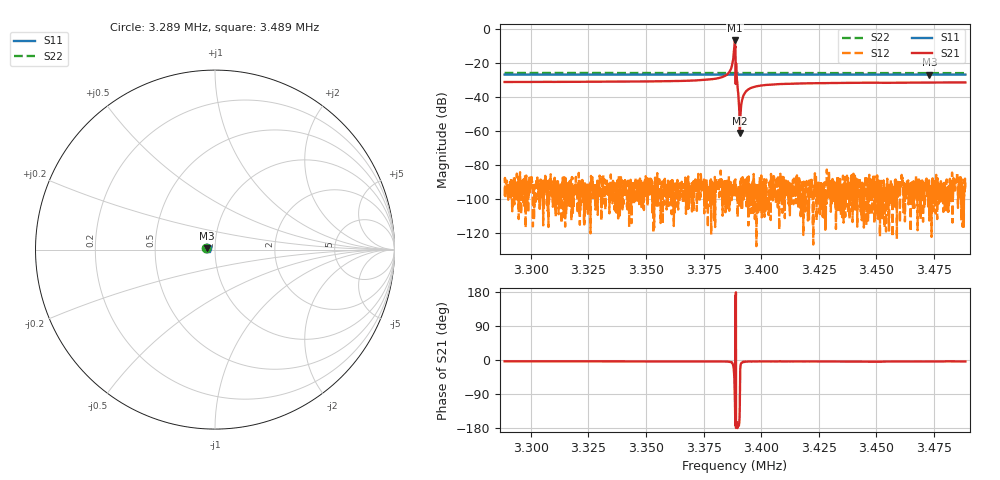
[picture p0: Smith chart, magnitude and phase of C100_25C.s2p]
# Hz S dB R 50.000
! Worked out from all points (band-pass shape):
!   6401 points, 3.289 MHz to 3.489 MHz, reference 50 ohm
!   highest |S21| = -6.59 dB at 3.389 MHz (marker M1); lowest = -61.2 dB at 3.391 MHz (marker M2)
!   |S21| within 3 dB of the highest: 3.388351 MHz to 3.38866 MHz (308.3 Hz wide, 0.0091 % of centre)
!   lowest |S11| = -26.7 dB at 3.473 MHz (marker M3), VSWR 1.10, Z = 45.6 + j0.574 ohm
!   |S11| at or under -10 dB: start of sweep to end of sweep
!   |S22| runs from -25.9 to -25.7 dB; largest |S21 - S12| = 0.47
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3288594  -26.73 170.6  -31.09 -3.4  -97.62 105.7  -25.75 168.8
3321938  -26.72 170.9  -30.98 -3.5  -92.29 22.7  -25.77 169.1
3355282  -26.73 171.1  -30.68 -3.6  -90.46 41.8  -25.79 169.4
3381938  -26.73 171.4  -28.61 -3.7  -88.97 63.4  -25.80 169.6
3385594  -26.72 171.4  -26.10 -4.3  -96.58 -6.0  -25.80 169.7
3386844  -26.72 171.4  -23.43 -5.5  -94.71 36.5  -25.80 169.7
3387469  -26.72 171.4  -20.19 -8.0  -95.42 -58.6  -25.80 169.7
3387844  -26.72 171.4  -17.36 -16.3  -94.06 -35.3  -25.80 169.7
3388594  -26.73 171.4  -6.59 -116.9  -97.90 -13.0  -25.78 169.7
3389219  -26.73 171.4  -26.30 -162.9  -95.83 -22.2  -25.80 169.7
3389906  -26.73 171.5  -36.97 -174.2  -95.90 43.3  -25.80 169.7
3390282  -26.73 171.4  -44.03 -172.7  -98.26 -83.5  -25.80 169.7
3390719  -26.73 171.4  -61.23 -83.4  -95.50 -39.7  -25.80 169.7
3391375  -26.73 171.5  -43.97 -7.7  -101.56 -23.5  -25.80 169.7
3392156  -26.72 171.5  -39.44 -4.6  -94.13 13.3  -25.80 169.7
3393094  -26.72 171.5  -37.17 -4.1  -89.34 50.8  -25.81 169.7
3396406  -26.72 171.5  -34.18 -3.7  -95.79 173.1  -25.81 169.8
3404156  -26.73 171.6  -32.61 -3.7  -91.65 79.8  -25.81 169.8
3421938  -26.73 171.7  -31.83 -3.7  -89.48 24.0  -25.82 170.0
3455282  -26.73 172.1  -31.57 -4.0  -109.76 117.2  -25.84 170.3
3472969  -26.74 172.2  -31.45 -3.9  -99.26 -146.6  -25.85 170.5
3488594  -26.74 172.4  -31.35 -3.8  -93.38 -12.9  -25.85 170.7
